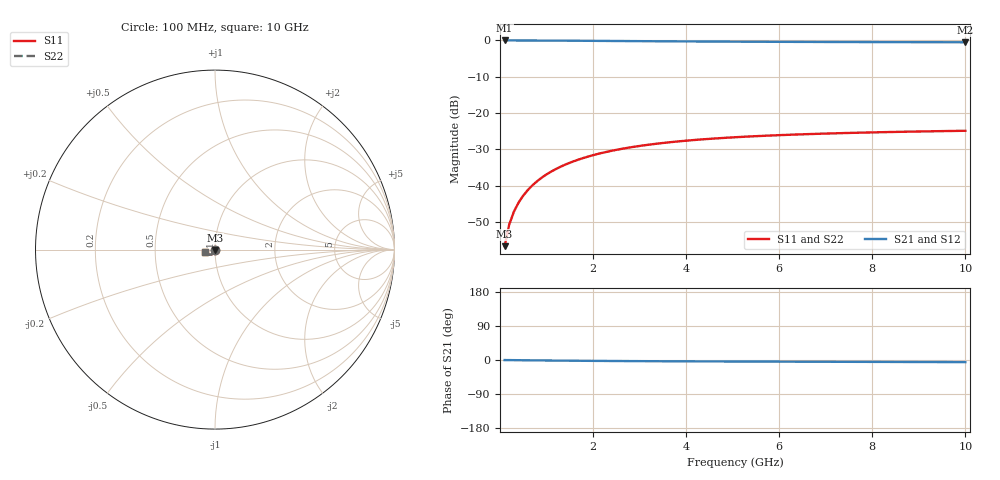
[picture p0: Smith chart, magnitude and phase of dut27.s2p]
! Touchstone file exported from HFSS 2024.1.0
!  File:  C:/UserFiles/LocalFiles/RDL_TSV_Batchsim/temp_TSV1_27_1778747448.aedt
!  Generated:  04:36:52 PM May 14, 2026
!  Design:  TSV1
!  Project:  temp_TSV1_27_1778747448
!  Setup:  Setup1
!  Solution:  Sweep
! Variables:
!  dtsv = 10.31um
!  hbump = 3um
!  htsv = 89.55um
!  lrdl = 252.1521522um
!  p = 40
!  p1 = 41.73um
!  t = 500um
!  trdl = 3um
!  wrdl = 24.89489489um
# GHz S MA R 50.000000
! Terminal data exported
! Port[1] = TSV22_T1
! Port[2] = TSV22_T2
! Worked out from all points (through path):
!   100 points, 100 MHz to 10 GHz, reference 50 ohm
!   highest |S21| = 0.00 dB at 100 MHz (marker M1); lowest = -0.5 dB at 10 GHz (marker M2)
!   lowest |S11| = -56.7 dB at 100 MHz (marker M3), VSWR 1.00, Z = 50 - j0.146 ohm
!   |S11| at or under -10 dB: start of sweep to end of sweep
!   |S22| runs from -56.7 to -24.9 dB; largest |S21 - S12| = 6.3e-15
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0.1  0.001465 -85.6  0.9998 -0.1  0.9998 -0.1  0.001465 -85.6
! Gamma 0 0 0 0
! Port Impedance 50 0 50 0
0.2  0.00292 -89.9  0.9997 -0.3  0.9997 -0.3  0.00292 -89.9
0.3  0.004377 -92.3  0.9995 -0.4  0.9995 -0.4  0.004377 -92.3
0.4  0.005832 -94.3  0.9992 -0.5  0.9992 -0.5  0.005832 -94.3
0.5  0.007278 -96.0  0.9988 -0.7  0.9988 -0.7  0.007278 -96.0
0.6  0.008713 -97.7  0.9984 -0.8  0.9984 -0.8  0.008713 -97.7
0.7  0.01013 -99.4  0.9979 -0.9  0.9979 -0.9  0.01013 -99.4
0.8  0.01153 -101.0  0.9974 -1.0  0.9974 -1.0  0.01153 -101.0
0.9  0.01291 -102.5  0.9967 -1.2  0.9967 -1.2  0.01291 -102.5
1.1  0.0156 -105.5  0.9954 -1.4  0.9954 -1.4  0.0156 -105.5
1.4  0.01942 -109.8  0.993 -1.7  0.993 -1.7  0.01942 -109.8
1.6  0.02182 -112.5  0.9913 -1.9  0.9913 -1.9  0.02182 -112.5
1.8  0.0241 -115.1  0.9894 -2.1  0.9894 -2.1  0.0241 -115.1
2.1  0.02728 -118.8  0.9866 -2.4  0.9866 -2.4  0.02728 -118.8
2.5  0.03109 -123.4  0.9827 -2.7  0.9827 -2.7  0.03109 -123.4
2.9  0.03443 -127.6  0.9789 -3.0  0.9789 -3.0  0.03443 -127.6
3.4  0.03801 -132.3  0.9744 -3.3  0.9744 -3.3  0.03801 -132.3
4.2  0.04263 -138.7  0.968 -3.6  0.968 -3.6  0.04263 -138.7
5.1  0.04657 -144.7  0.962 -4.0  0.962 -4.0  0.04657 -144.7
6.7  0.05142 -153.1  0.954 -4.6  0.954 -4.6  0.05142 -153.1
8.4  0.05478 -159.9  0.9482 -5.1  0.9482 -5.1  0.05478 -159.9
10  0.05695 -165.1  0.9443 -5.6  0.9443 -5.6  0.05695 -165.1
